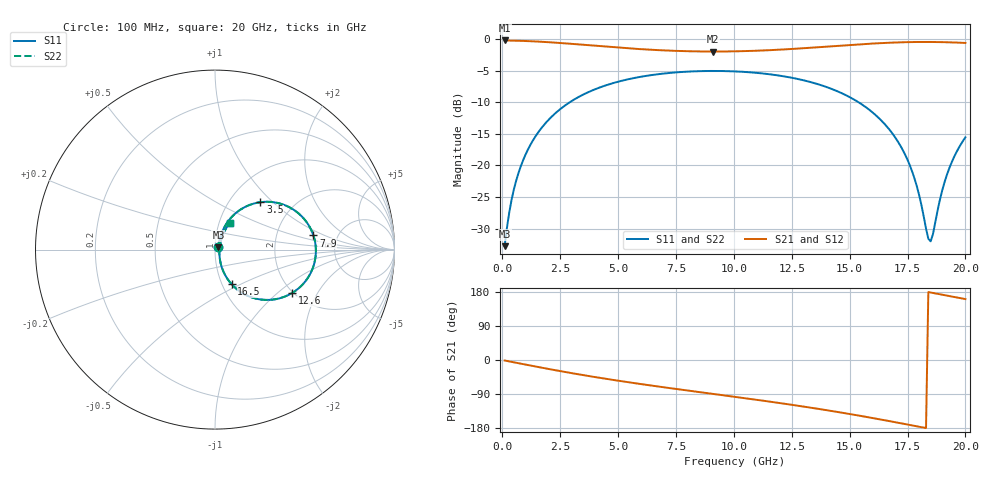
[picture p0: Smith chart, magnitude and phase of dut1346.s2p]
! Touchstone file exported from HFSS 2026.1.0
!  File:  C:/ffzhzh/LocalFiles/Ansys_Project_Files/temp_train_TSV_RDL_1346_1783339963_30076.aedt
!  Generated:  08:29:10 PM Jul  6, 2026
!  Design:  TSV_RDL
!  Project:  temp_train_TSV_RDL_1346_1783339963_30076
! Variables:
!  h_bsmrdl = 3.9um
!  h_ox = 20um
!  h_rdl = 5um
!  h_sub = 85.73um
!  h_tmrdl = 4.95um
!  h_tsv = 85.73um
!  h_via = 3um
!  l_bsmrdl = 237.62um
!  l_sub = 3223.51um
!  l_tmrdl = 495.54um
!  m_sub = 200um
!  pitch = 49.11um
!  r_tsv = 2.66um
!  s_tmrdl = 10um
!  w_bsmrdl = 19.45um
!  w_sub = 500um
!  w_tmrdl = 23.38um
!  x_tsv_center1 = 507.23um
!  x_tsv_center2 = 764.3um
!  x_tsv_center3 = 1283.22um
!  x_tsv_center4 = 1540.29um
!  x_tsv_center5 = 2059.21um
!  x_tsv_center6 = 2316.28um
# GHz S MA R 50.000000
! Terminal data exported
! Port[1] = TM_RDL1_1_T1
! Port[2] = TM_RDL5_1_T1
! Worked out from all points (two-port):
!   200 points, 100 MHz to 20 GHz, reference 50 ohm
!   highest |S21| = -0.17 dB at 100 MHz (marker M1); lowest = -1.9 dB at 9.1 GHz (marker M2)
!   |S21| within 3 dB of the highest: start of sweep to end of sweep
!   lowest |S11| = -32.8 dB at 100 MHz (marker M3), VSWR 1.05, Z = 51.9 + j1.29 ohm
!   |S11| at or under -10 dB: start of sweep to 2.901 GHz; 15.4 GHz to end of sweep
!   |S22| runs from -32.8 to -5.0 dB; largest |S21 - S12| = 1.6e-14
!   S11 on the Smith chart (normalised r, x): 100 MHz: 1.04, +0.03; 3.5 GHz: 1.38, +0.84; 7.9 GHz: 3.30, +0.75; 12.6 GHz: 1.97, -1.26; 16.5 GHz: 1.11, -0.45; 20 GHz: 1.12, +0.34
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0.1  0.02292 32.9  0.9809 -1.3  0.9809 -1.3  0.02292 32.9
! Gamma 0 0 0 0
! Port Impedance 50 0 50 0
0.3  0.0424 58.2  0.9793 -3.7  0.9793 -3.7  0.0424 58.2
0.5  0.06456 65.3  0.9775 -6.1  0.9775 -6.1  0.06456 65.3
1.1  0.133 67.5  0.9698 -13.2  0.9698 -13.2  0.133 67.5
2.1  0.2407 59.8  0.948 -24.8  0.948 -24.8  0.2407 59.8
3.5  0.3655 46.3  0.9063 -39.9  0.9063 -39.9  0.3655 46.3
6.8  0.5318 17.0  0.821 -70.5  0.821 -70.5  0.5318 17.0
7.9  0.5539 8.2  0.8069 -79.7  0.8069 -79.7  0.5539 8.2
9.1  0.5622 -1.2  0.8013 -89.5  0.8013 -89.5  0.5622 -1.2
10.1  0.5569 -9.1  0.8046 -97.7  0.8046 -97.7  0.5569 -9.1
12.6  0.4924 -29.5  0.8418 -119.1  0.8418 -119.1  0.4924 -29.5
13.4  0.4542 -36.4  0.8607 -126.5  0.8607 -126.5  0.4542 -36.4
15.2  0.3327 -52.8  0.9079 -144.6  0.9079 -144.6  0.3327 -52.8
16.5  0.2146 -64.3  0.9374 -158.8  0.9374 -158.8  0.2146 -64.3
16.7  0.1945 -65.8  0.9409 -161.0  0.9409 -161.0  0.1945 -65.8
17.3  0.1322 -69.0  0.9493 -167.9  0.9493 -167.9  0.1322 -69.0
17.7  0.0897 -68.3  0.9528 -172.6  0.9528 -172.6  0.08971 -68.3
18  0.05849 -62.6  0.9542 -176.1  0.9542 -176.1  0.05852 -62.6
18.4  0.02622 -20.8  0.9545 179.2  0.9545 179.2  0.02627 -20.8
18.5  0.02505 3.1  0.9542 178.1  0.9542 178.1  0.0251 3.1
19.2  0.08419 61.3  0.9494 169.9  0.9494 169.9  0.08421 61.3
20  0.1673 61.0  0.9375 160.7  0.9375 160.7  0.1673 61.0
